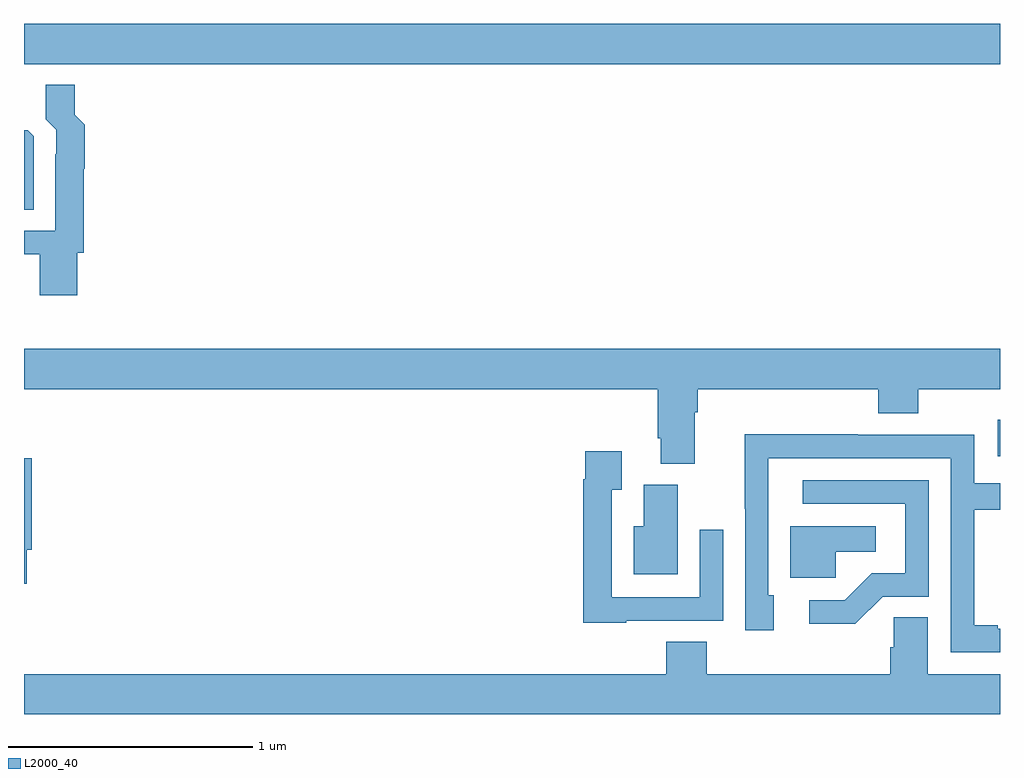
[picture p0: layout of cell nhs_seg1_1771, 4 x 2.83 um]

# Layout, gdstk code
import gdstk
lib = gdstk.Library(unit=1e-6, precision=1e-09)
def R(c, l, rs):  # rectangles x0, y0, x1, y1
    for r in rs: c.add(gdstk.rectangle(r[:2], r[2:], *l))
def P(c, l, *ps):  # polygons
    for p in ps: c.add(gdstk.Polygon(p, *l))
L2000_40 = (2000, 40)

nhs_seg1_1771 = lib.new_cell('nhs_seg1_1771')
R(nhs_seg1_1771, L2000_40, [(210.99,567.441,211,567.589), (207,569.048,211,569.212)])
P(nhs_seg1_1771, L2000_40, [(207.218,568.275),(207.245,568.275),(207.245,568.618),(207.248,568.618),(207.248,568.8),(207.209,568.839),(207.209,568.963),(207.089,568.963),(207.089,568.822),(207.132,568.779),(207.132,568.679),(207.129,568.679),(207.129,568.365),(207,568.365),(207,568.268),(207.065,568.268),(207.065,568.101),(207.218,568.101)],
  [(207.039,568.752),(207.015,568.776),(207,568.776),(207,568.45),(207.039,568.45)],
  [(209.749,567.62),(209.762,567.62),(209.762,567.716),(210.5,567.716),(210.5,567.617),(210.665,567.617),(210.665,567.716),(211,567.716),(211,567.88),(207,567.88),(207,567.716),(209.597,567.716),(209.597,567.514),(209.609,567.514),(209.609,567.409),(209.749,567.409)],
  [(211,566.733),(210.991,566.733),(210.991,566.748),(210.895,566.748),(210.895,567.222),(211,567.222),(211,567.33),(210.894,567.33),(210.894,567.528),(210.416,567.528),(210.416,567.53),(209.954,567.53),(209.954,567.226),(209.955,567.226),(209.955,566.727),(210.073,566.727),(210.073,566.871),(210.051,566.871),(210.051,567.432),(210.798,567.432),(210.798,566.637),(211,566.637)],
  [(209.469,566.766),(209.865,566.766),(209.865,567.139),(209.769,567.139),(209.769,566.862),(209.409,566.862),(209.409,567.304),(209.449,567.304),(209.449,567.46),(209.301,567.46),(209.301,567.347),(209.293,567.347),(209.293,566.759),(209.469,566.759)],
  [(207.011,567.057),(207.032,567.057),(207.032,567.433),(207,567.433),(207,566.917),(207.011,566.917)],
  [(210.519,566.865),(210.708,566.865),(210.708,567.342),(210.192,567.342),(210.192,567.246),(210.612,567.246),(210.612,566.961),(210.474,566.961),(210.363,566.85),(210.219,566.85),(210.219,566.753),(210.406,566.753)],
  [(209.68,567.324),(209.54,567.324),(209.54,567.154),(209.498,567.154),(209.498,566.957),(209.68,566.957)],
  [(210.327,567.05),(210.49,567.05),(210.49,567.154),(210.14,567.154),(210.14,566.943),(210.327,566.943)],
  [(211,566.548),(210.703,566.548),(210.703,566.78),(210.564,566.78),(210.564,566.657),(210.551,566.657),(210.551,566.548),(209.798,566.548),(209.798,566.681),(209.633,566.681),(209.633,566.548),(207,566.548),(207,566.384),(211,566.384)])

lib.write_gds('nhs_seg1_1771.gds')
